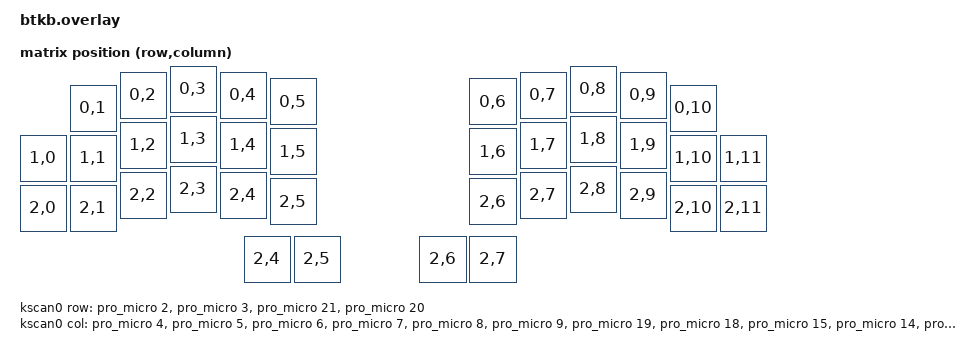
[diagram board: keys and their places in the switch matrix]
#include <dt-bindings/zmk/matrix_transform.h>
#include <physical_layouts.dtsi>
/ {
    kscan0: kscan0 {
        compatible = "zmk,kscan-gpio-matrix";
        diode-direction = "row2col";
        wakeup-source;

        col-gpios
            = <&pro_micro 4 (GPIO_ACTIVE_HIGH | GPIO_PULL_DOWN)> 
            , <&pro_micro 5 (GPIO_ACTIVE_HIGH | GPIO_PULL_DOWN)> 
            , <&pro_micro 6 (GPIO_ACTIVE_HIGH | GPIO_PULL_DOWN)> 
            , <&pro_micro 7 (GPIO_ACTIVE_HIGH | GPIO_PULL_DOWN)> 
            , <&pro_micro 8 (GPIO_ACTIVE_HIGH | GPIO_PULL_DOWN)> 
            , <&pro_micro 9 (GPIO_ACTIVE_HIGH | GPIO_PULL_DOWN)> 
            // -------------------------
            , <&pro_micro 19 (GPIO_ACTIVE_HIGH | GPIO_PULL_DOWN)> 
            , <&pro_micro 18 (GPIO_ACTIVE_HIGH | GPIO_PULL_DOWN)> 
            , <&pro_micro 15 (GPIO_ACTIVE_HIGH | GPIO_PULL_DOWN)> 
            , <&pro_micro 14 (GPIO_ACTIVE_HIGH | GPIO_PULL_DOWN)> 
            , <&pro_micro 16 (GPIO_ACTIVE_HIGH | GPIO_PULL_DOWN)> 
            , <&pro_micro 10 (GPIO_ACTIVE_HIGH | GPIO_PULL_DOWN)> 
            ;

        row-gpios
            = <&pro_micro 2 GPIO_ACTIVE_HIGH> // left second bottom
            , <&pro_micro 3 GPIO_ACTIVE_HIGH> // left bottom
            , <&pro_micro 21 GPIO_ACTIVE_HIGH> // right second bottom
            , <&pro_micro 20 GPIO_ACTIVE_HIGH> // right bottom
            ;
    };
};

/ {
    default_transform: keymap_transform0 {
        compatible = "zmk,matrix-transform";
        columns = <12>; // Length of the "col-gpios" array
        rows = <4>; // Length of the "row-gpios" array
        // ROW COLUMN
        map = <
                    RC(0,1) RC(0,2) RC(0,3) RC(0,4) RC(0,5) RC(0,6) RC(0,7) RC(0,8) RC(0,9) RC(0,10)
            RC(1,0) RC(1,1) RC(1,2) RC(1,3) RC(1,4) RC(1,5) RC(1,6) RC(1,7) RC(1,8) RC(1,9) RC(1,10) RC(1,11)
            RC(2,0) RC(2,1) RC(2,2) RC(2,3) RC(2,4) RC(2,5) RC(2,6) RC(2,7) RC(2,8) RC(2,9) RC(2,10) RC(2,11)
                                            RC(2,4) RC(2,5) RC(2,6) RC(2,7) 
        >;

    };
};

/ {
    physical_layout0: physical_layout_0 { // First physical layout, use different naming for other layouts
        compatible = "zmk,physical-layout";
        display-name = "Default Layout";
        kscan = <&kscan0>; // Label of the kscan node, optional if all layouts use the same
        transform = <&default_transform>; // Label of the matrix transform for this layout

        keys  //                     w   h    x    y     rot    rx    ry
            = <&key_physical_attrs 100 100  100   38       0     0     0>
            , <&key_physical_attrs 100 100  200   12       0     0     0>
            , <&key_physical_attrs 100 100  300    0       0     0     0>
            , <&key_physical_attrs 100 100  400   12       0     0     0>
            , <&key_physical_attrs 100 100  500   25       0     0     0>
            , <&key_physical_attrs 100 100  900   25       0     0     0>
            , <&key_physical_attrs 100 100 1000   12       0     0     0>
            , <&key_physical_attrs 100 100 1100    0       0     0     0>
            , <&key_physical_attrs 100 100 1200   12       0     0     0>
            , <&key_physical_attrs 100 100 1300   38       0     0     0>
            , <&key_physical_attrs 100 100    0  138       0     0     0>
            , <&key_physical_attrs 100 100  100  138       0     0     0>
            , <&key_physical_attrs 100 100  200  112       0     0     0>
            , <&key_physical_attrs 100 100  300  100       0     0     0>
            , <&key_physical_attrs 100 100  400  112       0     0     0>
            , <&key_physical_attrs 100 100  500  125       0     0     0>
            , <&key_physical_attrs 100 100  900  125       0     0     0>
            , <&key_physical_attrs 100 100 1000  112       0     0     0>
            , <&key_physical_attrs 100 100 1100  100       0     0     0>
            , <&key_physical_attrs 100 100 1200  112       0     0     0>
            , <&key_physical_attrs 100 100 1300  138       0     0     0>
            , <&key_physical_attrs 100 100 1400  138       0     0     0>
            , <&key_physical_attrs 100 100    0  238       0     0     0>
            , <&key_physical_attrs 100 100  100  238       0     0     0>
            , <&key_physical_attrs 100 100  200  212       0     0     0>
            , <&key_physical_attrs 100 100  300  200       0     0     0>
            , <&key_physical_attrs 100 100  400  212       0     0     0>
            , <&key_physical_attrs 100 100  500  225       0     0     0>
            , <&key_physical_attrs 100 100  900  225       0     0     0>
            , <&key_physical_attrs 100 100 1000  212       0     0     0>
            , <&key_physical_attrs 100 100 1100  200       0     0     0>
            , <&key_physical_attrs 100 100 1200  212       0     0     0>
            , <&key_physical_attrs 100 100 1300  238       0     0     0>
            , <&key_physical_attrs 100 100 1400  238       0     0     0>
            , <&key_physical_attrs 100 100  448  340       0     0     0>
            , <&key_physical_attrs 100 100  548  340       0     0     0>
            , <&key_physical_attrs 100 100  800  340       0     0     0>
            , <&key_physical_attrs 100 100  900  340       0     0     0>
            ;
    };
};

/ {
    chosen {
        zmk,physical-layout = &physical_layout0;
        // Other chosen items
    };
};

